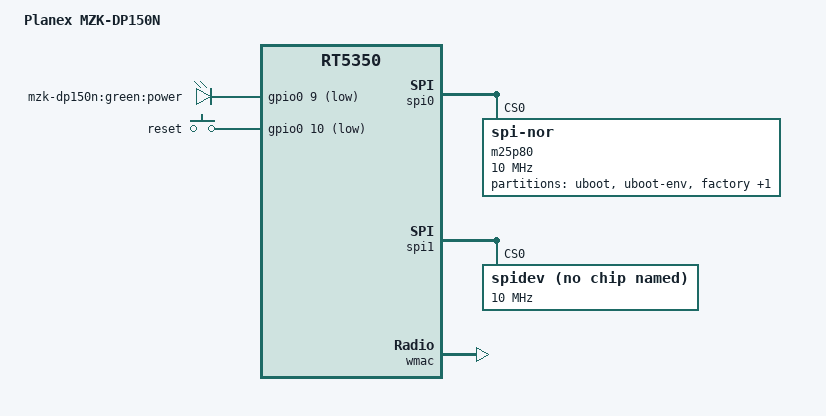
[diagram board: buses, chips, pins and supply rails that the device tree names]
/dts-v1/;

#include "rt5350.dtsi"

/ {
	compatible = "MZK-DP150N", "ralink,rt5350-soc";
	model = "Planex MZK-DP150N";

	gpio-leds {
		compatible = "gpio-leds";

		power {
			label = "mzk-dp150n:green:power";
			gpios = <&gpio0 9 1>;
		};
	};

	gpio-keys-polled {
		compatible = "gpio-keys-polled";
		#address-cells = <1>;
		#size-cells = <0>;
		poll-interval = <20>;

		reset {
			label = "reset";
			gpios = <&gpio0 10 1>;
			linux,code = <0x198>;
		};
	};
};

&gpio1 {
	status = "okay";
};

&spi0 {
	status = "okay";

	m25p80@0 {
		#address-cells = <1>;
		#size-cells = <1>;
		compatible = "jedec,spi-nor";
		reg = <0>;
		linux,modalias = "m25p80", "s25fl064k";
		spi-max-frequency = <10000000>;

		partition@0 {
			label = "uboot";
			reg = <0x0 0x30000>;
			read-only;
		};

		partition@30000 {
			label = "uboot-env";
			reg = <0x30000 0x10000>;
			read-only;
		};

		factory: partition@40000 {
			label = "factory";
			reg = <0x40000 0x10000>;
			read-only;
		};

		partition@50000 {
			label = "firmware";
			reg = <0x50000 0x3b0000>;
		};
	};
};

&spi1 {
	spidev@0 {
		compatible = "linux,spidev";
		spi-max-frequency = <10000000>;
		reg = <0>;
	};
};

&pinctrl {
	state_default: pinctrl0 {
		gpio {
			ralink,group = "jtag", "uartf", "led";
			ralink,function = "gpio";
		};
	};
};

&ethernet {
	mtd-mac-address = <&factory 0x4>;
};

&esw {
	mediatek,portmap = <0x17>;
};

&wmac {
	ralink,mtd-eeprom = <&factory 0>;
	ralink,led-polarity = <1>;
};
